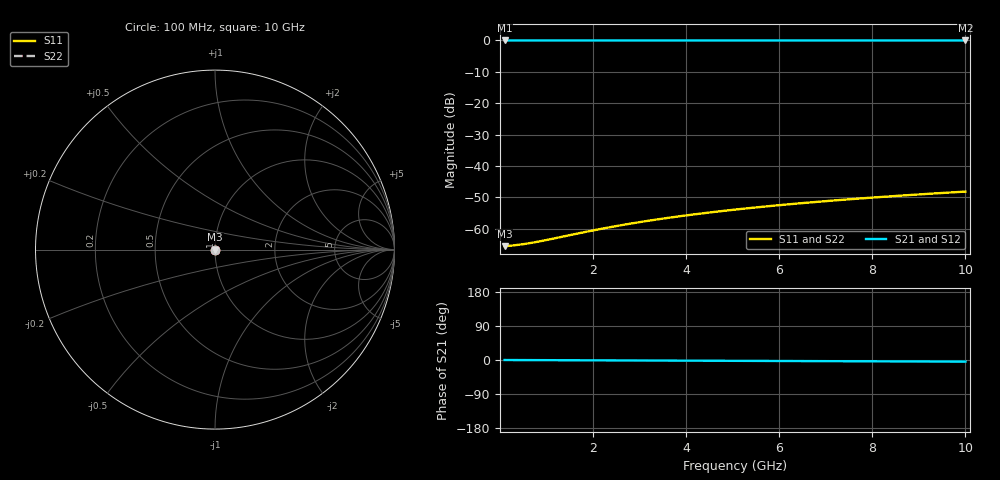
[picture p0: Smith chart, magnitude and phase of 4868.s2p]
# Hz S RI R 50.00
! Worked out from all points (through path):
!   100 points, 100 MHz to 10 GHz, reference 50 ohm
!   highest |S21| = 0.00 dB at 100 MHz (marker M1); lowest = 0.0 dB at 10 GHz (marker M2)
!   lowest |S11| = -65.5 dB at 100 MHz (marker M3), VSWR 1.00, Z = 50.1 - j0.00387 ohm
!   |S11| at or under -10 dB: start of sweep to end of sweep
!   |S22| runs from -65.5 to -48.2 dB; largest |S21 - S12| = 0
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1e8  0.000527 -3.87e-05  0.9995 -0.00076  0.9995 -0.00076  0.000527 -3.87e-05
3e8  0.000532 -0.000116  0.9995 -0.00228  0.9995 -0.00228  0.000532 -0.000116
4e8  0.000534 -0.000155  0.9995 -0.00304  0.9995 -0.00304  0.000534 -0.000155
5e8  0.000535 -0.000194  0.9995 -0.0038  0.9995 -0.0038  0.000535 -0.000194
7e8  0.000537 -0.000271  0.9994 -0.00532  0.9994 -0.00532  0.000537 -0.000271
1e9  0.000538 -0.000387  0.9994 -0.0076  0.9994 -0.0076  0.000538 -0.000387
1.8e9  0.000536 -0.000697  0.9993 -0.0137  0.9993 -0.0137  0.000536 -0.000697
2.2e9  0.000533 -0.000853  0.9993 -0.0167  0.9993 -0.0167  0.000533 -0.000853
2.6e9  0.000529 -0.00101  0.9992 -0.0198  0.9992 -0.0198  0.000529 -0.00101
3e9  0.000524 -0.00116  0.9992 -0.0228  0.9992 -0.0228  0.000524 -0.00116
3.4e9  0.000517 -0.00132  0.9991 -0.0258  0.9991 -0.0258  0.000517 -0.00132
3.8e9  0.00051 -0.00147  0.999 -0.0289  0.999 -0.0289  0.00051 -0.00147
4.2e9  0.000502 -0.00163  0.9989 -0.0319  0.9989 -0.0319  0.000502 -0.00163
4.6e9  0.000492 -0.00179  0.9988 -0.035  0.9988 -0.035  0.000492 -0.00179
5.1e9  0.000479 -0.00198  0.9987 -0.0388  0.9987 -0.0388  0.000479 -0.00198
5.5e9  0.000468 -0.00214  0.9985 -0.0418  0.9985 -0.0418  0.000468 -0.00214
5.9e9  0.000455 -0.00229  0.9984 -0.0448  0.9984 -0.0448  0.000455 -0.00229
6.7e9  0.000427 -0.00261  0.9981 -0.0509  0.9981 -0.0509  0.000427 -0.00261
7.5e9  0.000396 -0.00292  0.9977 -0.057  0.9977 -0.057  0.000396 -0.00292
8.4e9  0.000355 -0.00327  0.9973 -0.0638  0.9973 -0.0638  0.000355 -0.00327
9.2e9  0.000316 -0.00359  0.9969 -0.0699  0.9969 -0.0699  0.000316 -0.00359
1e10  0.000272 -0.0039  0.9965 -0.076  0.9965 -0.076  0.000272 -0.0039
